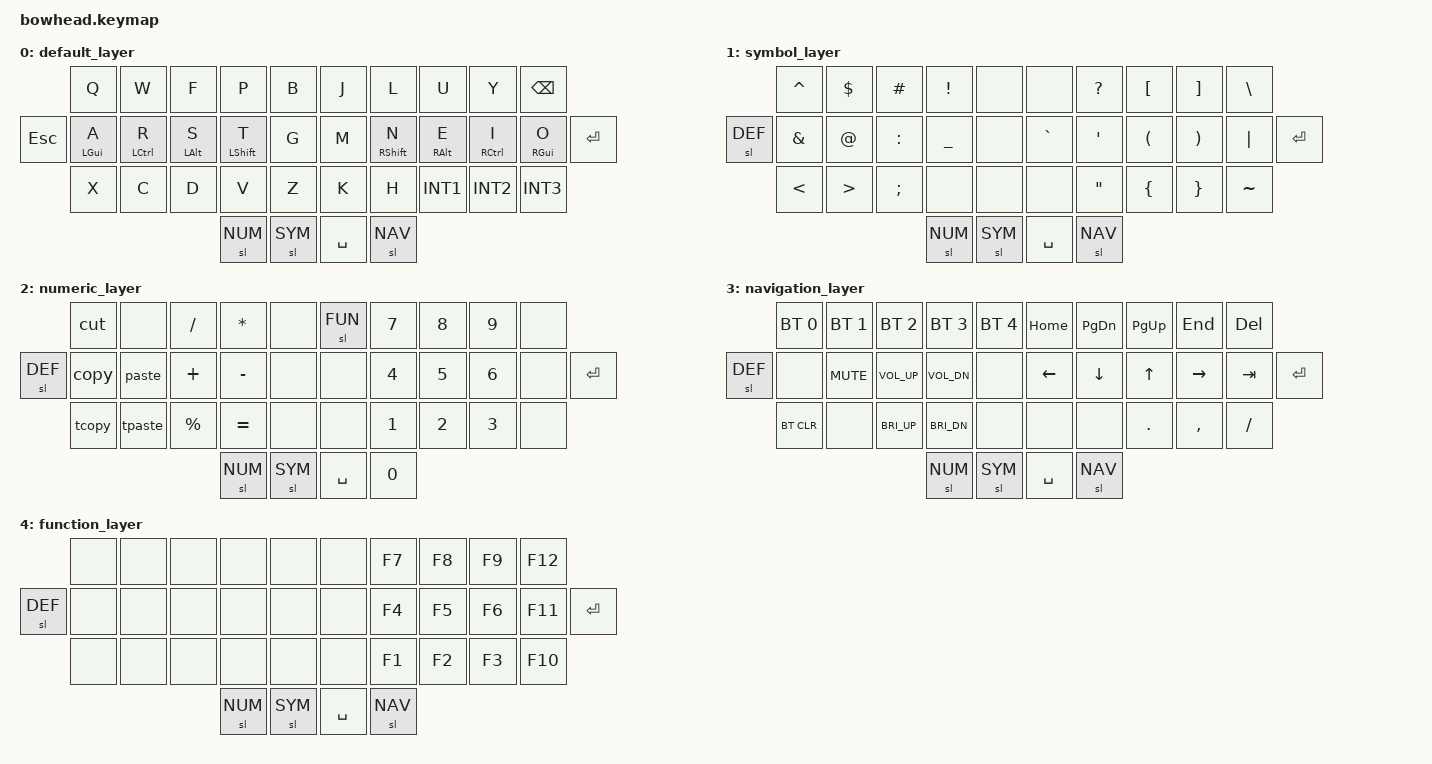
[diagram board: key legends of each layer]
#include <behaviors.dtsi>
#include <dt-bindings/zmk/keys.h>
#include <dt-bindings/zmk/bt.h>

/* Layers */
#define DEF 0
#define SYM 1
#define NUM 2
#define NAV 3
#define FUN 4

/ {

behaviors {
  hr: homerow_mods {
    compatible = "zmk,behavior-hold-tap";
    #binding-cells = <2>;
    tapping-term-ms = <200>;
    require-prior-idle-ms = <125>;
    quick-tap-ms = <0>;
    flavor = "tap-preferred";
    bindings = <&kp>, <&kp>;
  };
};

macros {

	cut: cut {
	label = "cut"; compatible = "zmk,behavior-macro"; #binding-cells = <0>;
	bindings
		= <&macro_press &kp LCTRL>
		, <&macro_tap &kp X>
		, <&macro_release &kp LCTRL>
		;
	};

	copy: copy {
	label = "copy"; compatible = "zmk,behavior-macro"; #binding-cells = <0>;
	bindings
		= <&macro_press &kp LCTRL>
		, <&macro_tap &kp C>
		, <&macro_release &kp LCTRL>
		;
	};

	tcopy: tcopy {
	label = "tcopy"; compatible = "zmk,behavior-macro"; #binding-cells = <0>;
	bindings
		= <&macro_press &kp LCTRL>
		, <&macro_press &kp LSHIFT>
		, <&macro_tap &kp C>
		, <&macro_release &kp LCTRL>
		, <&macro_release &kp LSHIFT>
		;
	};

	paste: paste {
	label = "paste"; compatible = "zmk,behavior-macro"; #binding-cells = <0>;
	bindings
		= <&macro_press &kp LCTRL>
		, <&macro_tap &kp V>
		, <&macro_release &kp LCTRL>
		;
	};

	tpaste: tpaste {
	label = "tpaste"; compatible = "zmk,behavior-macro"; #binding-cells = <0>;
	bindings
		= <&macro_press &kp LCTRL>
		, <&macro_press &kp LSHIFT>
		, <&macro_tap &kp V>
		, <&macro_release &kp LCTRL>
		, <&macro_release &kp LSHIFT>
		;
	};

};

keymap {
	compatible = "zmk,keymap";

	default_layer {
// def
// -------------------------------------------------------------     --------------------------------------------------------------
//           |    Q    |    W    |    F    |    P    |    B    |     |    J    |    L    |    U    |    Y    |   BSPC  |
// |   ESC   |    A    |    R    |    S    |    T    |    G    |     |    M    |    N    |    E    |    I    |    O    | RETURN |
//           |    X    |    C    |    D    |    V    |    Z    |     |    K    |    H    |    AO   |    AE   |    OE   |
//                                         |   NUM   |   SYM   |     |  SPACE  |   NAV   |
    bindings = <
              &kp Q     &kp W     &kp F     &kp P     &kp B           &kp J     &kp L     &kp U     &kp Y     &kp BSPC
  &kp ESC &hr LGUI A &hr LCTRL R &hr LALT S &hr LSHIFT T &kp G        &kp M &hr RSHIFT N &hr RALT E &hr RCTRL I &hr RGUI O &kp RET
              &kp X     &kp C     &kp D     &kp V     &kp Z           &kp K     &kp H     &kp INT1  &kp INT2  &kp INT3
                                        &sl NUM       &sl SYM         &kp SPACE &sl NAV
    >;
  };

        symbol_layer {
// sym
// -------------------------------------------------------------     --------------------------------------------------------------
//           |    ^    |    $    |    #    |    !    |         |     |         |    ?    |    [    |    ]    |    \    |
// |   DEF   |    &    |    @    |    :    |    _    |         |     |    `    |    '    |    (    |    )    |    |    |  RETURN   |
//           |    <    |    >    |    ;    |         |         |     |         |    "    |    {    |    }    |    ~    |
//                                         |   NUM   |  SYM    |     |  SPACE  |   NAV   |
            bindings = <
              &kp CARET &kp DLLR  &kp HASH  &kp EXCL  &none           &none     &kp QMARK &kp LBKT  &kp RBKT  &kp BSLH
   &sl DEF    &kp AMPS  &kp AT    &kp COLON &kp UNDER &none           &kp GRAVE &kp APOS  &kp LPAR  &kp RPAR  &kp PIPE  &kp RET
              &kp LT    &kp GT    &kp SEMI  &none     &none           &none     &kp DQT   &kp LBRC  &kp RBRC  &kp TILDE
                                            &sl NUM   &sl SYM         &kp SPACE &sl NAV
            >;
        };

        numeric_layer {
// num
// -------------------------------------------------------------     --------------------------------------------------------------
//           |  cut    |         |    /    |    *    |         |     |  FUN    |    7    |    8    |    9    |         |
// |   DEF   |  copy   |  paste  |    +    |    -    |         |     |         |    4    |    5    |    6    |         |  RETURN   |
//           |  tcopy  |  tpaste |    %    |    =    |         |     |         |    1    |    2    |    3    |         |
//                                         |   NUM   |   SYM   |     |  SPACE  |    0    |
            bindings = <
              &cut      &none     &kp FSLH  &kp STAR  &none           &sl FUN   &kp N7    &kp N8    &kp N9    &none
   &sl DEF    &copy     &paste    &kp PLUS  &kp MINUS &none           &none     &kp N4    &kp N5    &kp N6    &none     &kp RET
              &tcopy    &tpaste   &kp PRCNT &kp EQUAL &none           &none     &kp N1    &kp N2    &kp N3    &none
                                            &sl NUM   &sl SYM         &kp SPACE &kp N0
            >;
        };

        navigation_layer {

// nav
// -------------------------------------------------------------     --------------------------------------------------------------
//           |   BT 1  |   BT 2  |   BT 3  |   BT 4  |   BT 5  |     |  HOME   |  PGDN   |   PGUP  |  END    |   DEL   |
// |   DEF   |         |   MUTE  |  VOLUP  | VOLDOWN |         |     |  LEFT   |  DOWN   |    UP   |  RIGHT  |   TAB   |  RETURN   |
//           | BT CLR  |         |  BRIUP  | BRIDOWN |         |     |         |         |    .    |    ,    |    /    |
//                                         |   NUM   |   SYM   |     |  SPACE  |  NAV    |
            bindings = <
     &bt BT_SEL 0 &bt BT_SEL 1 &bt BT_SEL 2 &bt BT_SEL 3 &bt BT_SEL 4 &kp HOME  &kp PG_DN &kp PG_UP &kp END    &kp DEL
   &sl DEF    &none &kp C_MUTE &kp C_VOL_UP &kp C_VOL_DN &none        &kp LEFT  &kp DOWN  &kp UP    &kp RIGHT  &kp TAB  &kp RET
              &bt BT_CLR &none &kp C_BRI_UP &kp C_BRI_DN &none        &none     &none     &kp DOT   &kp COMMA  &kp FSLH
                                            &sl NUM   &sl SYM         &kp SPACE &sl NAV
            >;

        };

        function_layer {
// fun
// -------------------------------------------------------------     --------------------------------------------------------------
//           |         |         |         |         |         |     |         |   F7    |   F8    |   F9    |         |
// |   DEF   |         |         |         |         |         |     |         |   F4    |   F5    |   F6    |         |  RETURN   |
//           |         |         |         |         |         |     |         |   F1    |   F2    |   F3    |         |
//                                         |   NUM   |   SYM   |     |  SPACE  |   NAV   |
            bindings = <
              &none     &none     &none     &none     &none           &none     &kp F7    &kp F8    &kp F9    &kp F12
   &sl DEF    &none     &none     &none     &none     &none           &none     &kp F4    &kp F5    &kp F6    &kp F11   &kp RET
              &none     &none     &none     &none     &none           &none     &kp F1    &kp F2    &kp F3    &kp F10
                                            &sl NUM   &sl SYM         &kp SPACE &sl NAV
            >;
        };

    };
};
